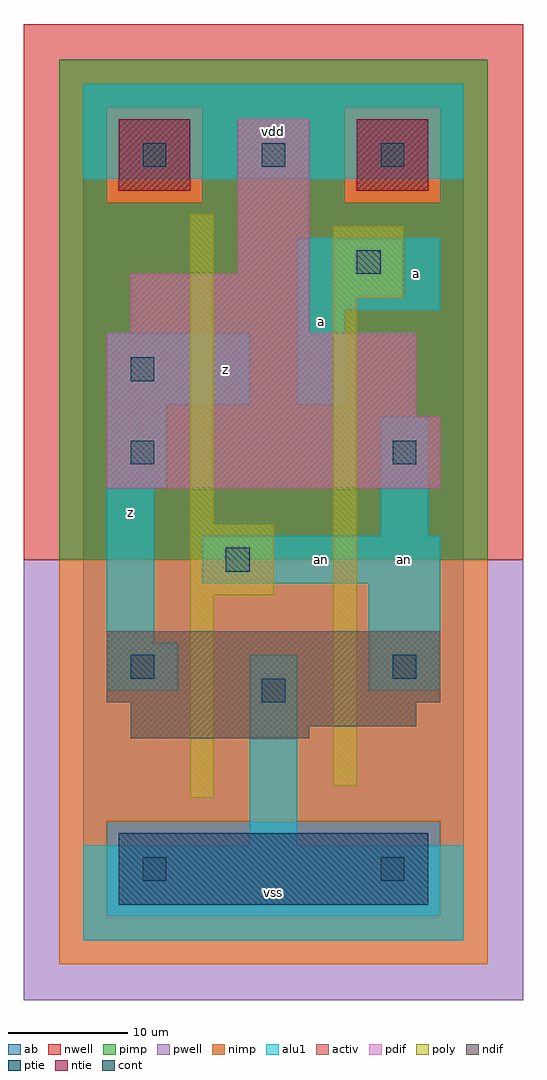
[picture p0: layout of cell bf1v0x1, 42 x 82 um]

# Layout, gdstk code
import gdstk
lib = gdstk.Library(unit=1e-6, precision=1e-09)
def R(c, l, rs):  # rectangles x0, y0, x1, y1
    for r in rs: c.add(gdstk.rectangle(r[:2], r[2:], *l))
def A(c, l, x, y, w, h, nx, ny, dx, dy):  # array of equal rectangles
    R(c, l, [(x+i*dx, y+j*dy, x+i*dx+w, y+j*dy+h) for i in range(nx) for j in range(ny)])
ndif = (3, 0)
pdif = (4, 0)
ntie = (5, 0)
ptie = (6, 0)
cont = (25, 0)
pwell = (41, 0)
nwell = (42, 0)
activ = (43, 0)
pimp = (44, 0)
nimp = (45, 0)
poly = (46, 0)
alu1 = (49, 0)
ab = (63, 0)

bf1v0x1 = lib.new_cell('bf1v0x1')
R(bf1v0x1, ndif, [(4,17,19,18), (4,18,28,20), (2,20,30,26)])
R(bf1v0x1, pdif, [(2,38,30,44), (2,44,28,51), (4,51,19,56), (13,56,19,69)])
R(bf1v0x1, ntie, [(3,63,9,69), (23,63,29,69)])
R(bf1v0x1, ptie, [(3,3,29,9)])
A(bf1v0x1, cont, 5, 65, 2, 2, 3, 1, 10, 0)
R(bf1v0x1, cont, [(5,5,7,7), (25,5,27,7), (15,20,17,22), (4,22,6,24), (26,22,28,24), (12,31,14,33), (4,40,6,42), (26,40,28,42), (4,47,6,49), (23,56,25,58)])
R(bf1v0x1, pwell, [(-5,-5,37,32)])
R(bf1v0x1, nwell, [(-5,32,37,77)])
R(bf1v0x1, activ, [(3,3,29,9), (4,17,19,18), (4,18,28,20), (2,20,30,26), (2,38,30,44), (2,44,28,51), (4,51,19,56), (13,56,19,69), (3,63,9,69), (23,63,29,69)])
R(bf1v0x1, pimp, [(2,2,30,10), (-2,32,34,62), (-2,62,2,70), (10,62,22,70), (30,62,34,70), (-2,70,34,74)])
R(bf1v0x1, nimp, [(-2,-2,34,2), (-2,2,2,10), (30,2,34,10), (-2,10,34,32), (2,62,10,70), (22,62,30,70)])
R(bf1v0x1, poly, [(9,12,11,29), (21,13,23,54), (9,29,16,35), (9,35,11,61), (21,54,27,60)])
R(bf1v0x1, alu1, [(0,0,32,8), (14,8,18,24), (2,21,8,25), (24,21,30,30), (2,25,6,38), (10,30,30,34), (25,34,29,44), (2,38,7,45), (2,45,14,51), (18,45,22,53), (18,53,30,59), (0,64,32,72)])
R(bf1v0x1, ab, [(0,0,32,72)])
bf1v0x1.add(gdstk.Label('an', (27,32), layer=49, texttype=0))
bf1v0x1.add(gdstk.Label('an', (20,32), layer=49, texttype=0))
bf1v0x1.add(gdstk.Label('z', (4,36), layer=49, texttype=0))
bf1v0x1.add(gdstk.Label('vss', (16,4), layer=49, texttype=0))
bf1v0x1.add(gdstk.Label('z', (12,48), layer=49, texttype=0))
bf1v0x1.add(gdstk.Label('vdd', (16,68), layer=49, texttype=0))
bf1v0x1.add(gdstk.Label('a', (20,52), layer=49, texttype=0))
bf1v0x1.add(gdstk.Label('a', (28,56), layer=49, texttype=0))

lib.write_gds('bf1v0x1.gds')
